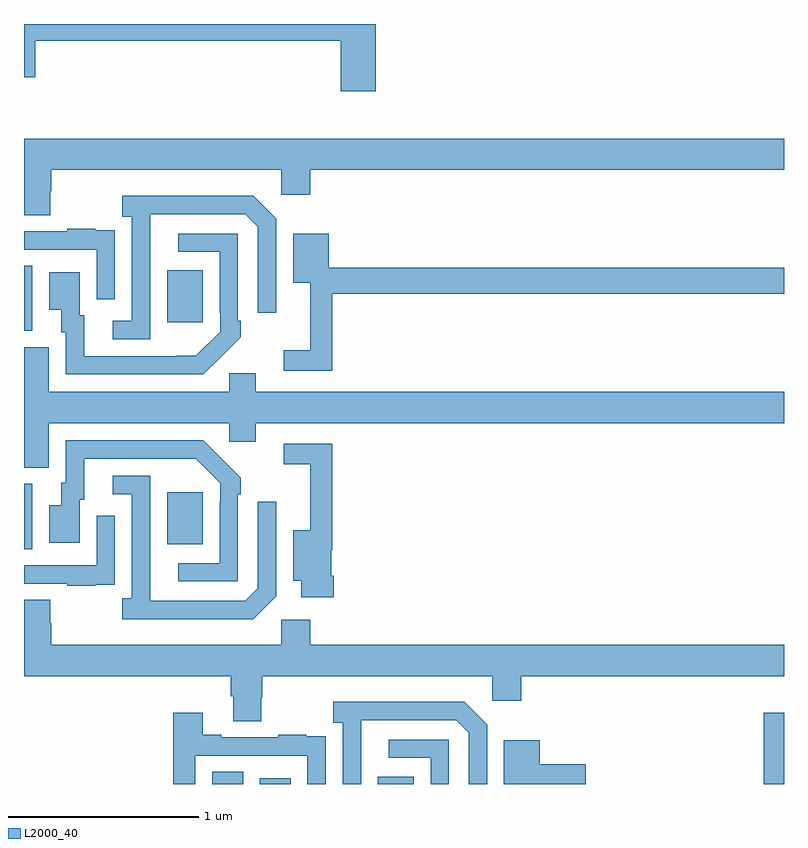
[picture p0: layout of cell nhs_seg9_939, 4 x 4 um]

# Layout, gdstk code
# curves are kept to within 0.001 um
import gdstk
lib = gdstk.Library(unit=1e-6, precision=1e-09)
def R(c, l, rs):  # rectangles x0, y0, x1, y1
    for r in rs: c.add(gdstk.rectangle(r[:2], r[2:], *l))
def P(c, l, *ps):  # polygons
    for p in ps: c.add(gdstk.Polygon(p, *l))
L2000_40 = (2000, 40)

nhs_seg9_939 = lib.new_cell('nhs_seg9_939')
R(nhs_seg9_939, L2000_40, [(161.99,1214.5,162.154,1214.564), (162.242,1214.5,162.403,1214.53), (162.863,1214.5,163.051,1214.539), (164.893,1214.5,165,1214.875), (161,1215.736,161.044,1216.08), (161.753,1215.761,161.941,1216.036), (161,1216.885,161.044,1217.228), (161.753,1216.929,161.941,1217.203)])
P(nhs_seg9_939, L2000_40, [(162.851,1218.5),(161,1218.5),(161,1218.219),(161.06,1218.219),(161.06,1218.412),(162.668,1218.412),(162.668,1218.147),(162.851,1218.147)],
  [(161.139,1217.619),(161.144,1217.619),(161.144,1217.732),(162.354,1217.732),(162.354,1217.601),(162.506,1217.601),(162.506,1217.732),(165,1217.732),(165,1217.896),(161,1217.896),(161,1217.494),(161.139,1217.494)],
  [(161.664,1217.299),(161.665,1217.499),(162.165,1217.499),(162.231,1217.433),(162.231,1216.98),(162.327,1216.98),(162.327,1217.475),(162.206,1217.596),(161.517,1217.596),(161.517,1217.486),(161.568,1217.486),(161.568,1216.938),(161.466,1216.938),(161.466,1216.842),(161.664,1216.842)],
  [(161.478,1217.306),(161.477,1217.306),(161.477,1217.415),(161.375,1217.415),(161.375,1217.422),(161.227,1217.422),(161.227,1217.409),(161,1217.409),(161,1217.313),(161.382,1217.313),(161.382,1217.052),(161.478,1217.052)],
  [(162.035,1216.747),(162.036,1216.746),(162.141,1216.851),(162.141,1216.939),(162.126,1216.939),(162.126,1217.397),(161.811,1217.397),(161.811,1217.301),(162.03,1217.301),(162.03,1216.981),(162.033,1216.981),(162.033,1216.881),(161.905,1216.753),(161.317,1216.752),(161.317,1216.968),(161.293,1216.968),(161.293,1217.194),(161.132,1217.194),(161.132,1216.997),(161.195,1216.997),(161.195,1216.878),(161.22,1216.878),(161.22,1216.656),(161.944,1216.656)],
  [(162.623,1217.08),(165,1217.08),(165,1217.216),(162.603,1217.216),(162.603,1217.395),(162.416,1217.395),(162.416,1217.138),(162.506,1217.138),(162.506,1216.783),(162.366,1216.783),(162.366,1216.674),(162.623,1216.674)],
  [(161.131,1216.4),(162.081,1216.4),(162.081,1216.302),(162.22,1216.302),(162.22,1216.4),(165,1216.4),(165,1216.564),(162.22,1216.564),(162.22,1216.662),(162.081,1216.662),(162.081,1216.564),(161.131,1216.564),(161.131,1216.8),(161,1216.8),(161,1216.165),(161.131,1216.165)],
  [(162.126,1216.025),(162.141,1216.025),(162.141,1216.113),(161.944,1216.308),(161.22,1216.308),(161.22,1216.086),(161.195,1216.086),(161.195,1215.967),(161.132,1215.967),(161.132,1215.771),(161.293,1215.771),(161.293,1215.996),(161.317,1215.996),(161.317,1216.212),(161.905,1216.212),(162.033,1216.083),(162.033,1215.983),(162.03,1215.983),(162.03,1215.663),(161.811,1215.663),(161.811,1215.567),(162.126,1215.567)],
  [(162.629,1215.595),(162.616,1215.595),(162.616,1215.731),(162.623,1215.731),(162.623,1216.29),(162.366,1216.29),(162.366,1216.182),(162.506,1216.182),(162.506,1215.835),(162.416,1215.835),(162.416,1215.569),(162.458,1215.569),(162.458,1215.483),(162.629,1215.483)],
  [(162.327,1215.489),(162.327,1215.985),(162.231,1215.985),(162.231,1215.531),(162.165,1215.465),(161.665,1215.465),(161.664,1216.122),(161.466,1216.122),(161.466,1216.026),(161.568,1216.026),(161.568,1215.478),(161.517,1215.478),(161.517,1215.368),(162.206,1215.368)],
  [(161.375,1215.549),(161.477,1215.549),(161.477,1215.658),(161.478,1215.658),(161.478,1215.913),(161.382,1215.913),(161.382,1215.651),(161,1215.651),(161,1215.555),(161.227,1215.555),(161.227,1215.543),(161.375,1215.543)],
  [(161.144,1215.345),(161.139,1215.345),(161.139,1215.47),(161,1215.47),(161,1215.068),(162.089,1215.068),(162.089,1214.962),(162.101,1214.962),(162.101,1214.83),(162.249,1214.83),(162.249,1214.955),(162.254,1214.955),(162.254,1215.068),(163.464,1215.068),(163.464,1214.937),(163.616,1214.937),(163.616,1215.068),(165,1215.068),(165,1215.232),(162.506,1215.232),(162.506,1215.364),(162.354,1215.364),(162.354,1215.232),(161.144,1215.232)],
  [(162.774,1214.635),(162.775,1214.835),(163.275,1214.835),(163.341,1214.769),(163.341,1214.5),(163.437,1214.5),(163.437,1214.811),(163.316,1214.932),(162.627,1214.932),(162.627,1214.822),(162.678,1214.822),(162.678,1214.5),(162.774,1214.5)],
  [(161.901,1214.649),(162.492,1214.649),(162.492,1214.5),(162.588,1214.5),(162.588,1214.642),(162.587,1214.642),(162.587,1214.751),(162.485,1214.751),(162.485,1214.758),(162.337,1214.758),(162.337,1214.745),(162.037,1214.745),(162.037,1214.758),(161.941,1214.758),(161.941,1214.875),(161.785,1214.875),(161.785,1214.5),(161.901,1214.5)],
  [(163.236,1214.733),(162.921,1214.733),(162.921,1214.637),(163.14,1214.637),(163.14,1214.5),(163.236,1214.5)],
  [(163.957,1214.604),(163.714,1214.604),(163.714,1214.731),(163.526,1214.731),(163.526,1214.5),(163.957,1214.5)])

lib.write_gds('nhs_seg9_939.gds')
